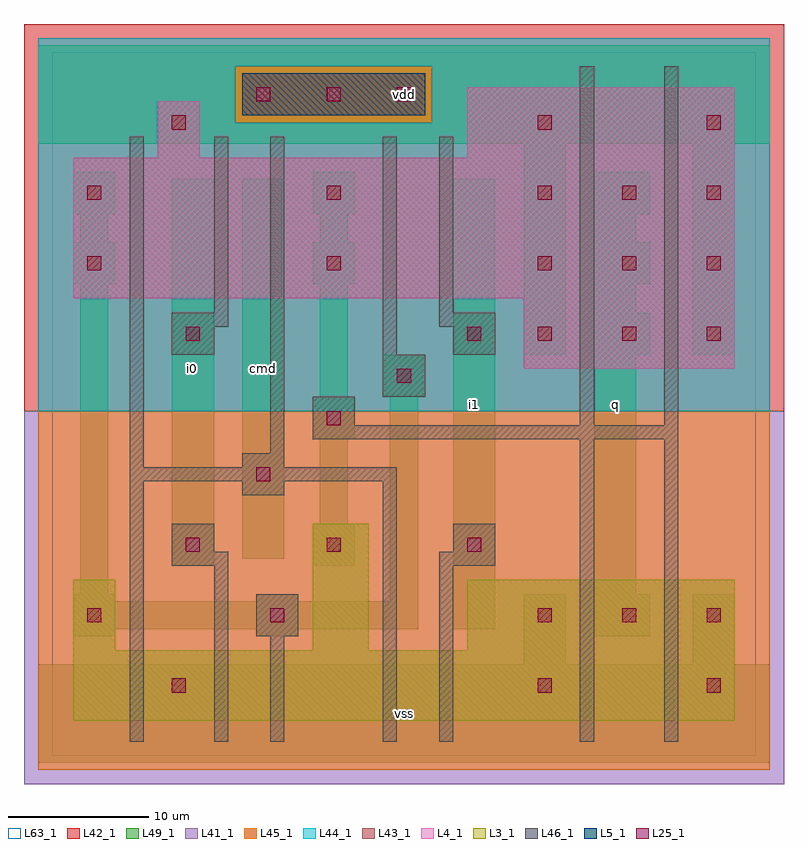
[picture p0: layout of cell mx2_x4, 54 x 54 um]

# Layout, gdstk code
import gdstk
lib = gdstk.Library(unit=1e-6, precision=1e-09)
def R(c, l, rs):  # rectangles x0, y0, x1, y1
    for r in rs: c.add(gdstk.rectangle(r[:2], r[2:], *l))
def A(c, l, x, y, w, h, nx, ny, dx, dy):  # array of equal rectangles
    R(c, l, [(x+i*dx, y+j*dy, x+i*dx+w, y+j*dy+h) for i in range(nx) for j in range(ny)])
L3_1 = (3, 1)
L4_1 = (4, 1)
L5_1 = (5, 1)
L25_1 = (25, 1)
L41_1 = (41, 1)
L42_1 = (42, 1)
L43_1 = (43, 1)
L44_1 = (44, 1)
L45_1 = (45, 1)
L46_1 = (46, 1)
L49_1 = (49, 1)
L63_1 = (63, 1)

mx2_x4 = lib.new_cell('mx2_x4')
R(mx2_x4, L3_1, [(1.5,2.5,48.5,7.5), (1.5,7.5,4.5,12.5), (18.5,7.5,22.5,16.5), (29.5,7.5,48.5,12.5)])
R(mx2_x4, L4_1, [(33.5,27.5,48.5,32.5), (1.5,32.5,48.5,42.5), (7.5,42.5,10.5,46.5), (29.5,42.5,48.5,47.5)])
R(mx2_x4, L5_1, [(13.5,45.5,26.5,48.5)])
A(mx2_x4, L25_1, 34.5, 9.5, 1, 1, 3, 2, 6, 20)
A(mx2_x4, L25_1, 9.5, 14.5, 1, 1, 3, 1, 10, 0)
A(mx2_x4, L25_1, 34.5, 34.5, 1, 1, 3, 2, 6, 5)
A(mx2_x4, L25_1, 14.5, 46.5, 1, 1, 3, 1, 5, 0)
R(mx2_x4, L25_1, [(8.5,4.5,9.5,5.5), (34.5,4.5,35.5,5.5), (46.5,4.5,47.5,5.5), (2.5,9.5,3.5,10.5), (15.5,9.5,16.5,10.5), (14.5,19.5,15.5,20.5), (19.5,23.5,20.5,24.5), (24.5,26.5,25.5,27.5), (9.5,29.5,10.5,30.5), (29.5,29.5,30.5,30.5), (2.5,34.5,3.5,35.5), (19.5,34.5,20.5,35.5), (2.5,39.5,3.5,40.5), (19.5,39.5,20.5,40.5), (8.5,44.5,9.5,45.5), (34.5,44.5,35.5,45.5), (46.5,44.5,47.5,45.5)])
R(mx2_x4, L41_1, [(-2,-2,52,24.5)])
R(mx2_x4, L42_1, [(-2,24.5,52,52)])
R(mx2_x4, L43_1, [(1.5,2.5,48.5,7.5), (1.5,7.5,4.5,12.5), (18.5,7.5,22.5,16.5), (29.5,7.5,48.5,12.5), (33.5,27.5,48.5,32.5), (1.5,32.5,48.5,42.5), (7.5,42.5,10.5,46.5), (29.5,42.5,48.5,47.5), (13.5,45.5,26.5,48.5)])
R(mx2_x4, L44_1, [(-1,24.5,51,45), (-1,45,13,49), (27,45,51,49), (-1,49,51,51)])
R(mx2_x4, L45_1, [(-1,-1,51,24.5), (13,45,27,49)])
R(mx2_x4, L46_1, [(5.5,1,6.5,19.5), (11.5,1,12.5,13.5), (15.5,1,16.5,8.5), (23.5,1,24.5,19.5), (27.5,1,28.5,13.5), (37.5,1,38.5,22.5), (43.5,1,44.5,22.5), (14.5,8.5,17.5,11.5), (8.5,13.5,12.5,14.5), (27.5,13.5,31.5,14.5), (8.5,14.5,11.5,16.5), (28.5,14.5,31.5,16.5), (13.5,18.5,16.5,19.5), (5.5,19.5,24.5,20.5), (5.5,20.5,6.5,44), (13.5,20.5,16.5,21.5), (15.5,21.5,16.5,44), (18.5,22.5,44.5,23.5), (18.5,23.5,21.5,25.5), (37.5,23.5,38.5,49), (43.5,23.5,44.5,49), (23.5,25.5,26.5,28.5), (8.5,28.5,11.5,30.5), (23.5,28.5,24.5,44), (28.5,28.5,31.5,30.5), (8.5,30.5,12.5,31.5), (27.5,30.5,31.5,31.5), (11.5,31.5,12.5,44), (27.5,31.5,28.5,44)])
A(mx2_x4, L49_1, 38.5, 28.5, 4, 3, 1, 3, 0, 5)
R(mx2_x4, L49_1, [(-1,-0.5,51,6.5), (33.5,6.5,36.5,11.5), (45.5,6.5,48.5,11.5), (1.5,8.5,4.5,9), (14.5,8.5,17.5,9), (38.5,8.5,42.5,11.5), (1.5,9,26,11), (28.5,9,31.5,41), (1.5,11,4.5,11.5), (14.5,11,17.5,11.5), (24,11,26,25.5), (2,11.5,4,33.5), (38.5,11.5,41.5,28.5), (8.5,13.5,11.5,41), (18.5,13.5,21.5,16.5), (13.5,14,16.5,41), (19,16.5,21,22.5), (18.5,22.5,21.5,25.5), (19,25.5,21,33.5), (23.5,25.5,26.5,28.5), (33.5,28.5,36.5,43.5), (45.5,28.5,48.5,43.5), (38.5,31.5,41.5,33.5), (1.5,33.5,4.5,36.5), (18.5,33.5,21.5,36.5), (2,36.5,4,38.5), (19,36.5,21,38.5), (38.5,36.5,41.5,38.5), (1.5,38.5,4.5,41.5), (18.5,38.5,21.5,41.5), (-1,43.5,51,50.5)])
R(mx2_x4, L63_1, [(0,0,50,50)])
mx2_x4.add(gdstk.Label('i0', (10,27.5), layer=49, texttype=1))
mx2_x4.add(gdstk.Label('i0', (10,27.5), layer=49, texttype=1))
mx2_x4.add(gdstk.Label('cmd', (15,27.5), layer=49, texttype=1))
mx2_x4.add(gdstk.Label('cmd', (15,27.5), layer=49, texttype=1))
mx2_x4.add(gdstk.Label('vss', (25,3), layer=49, texttype=1))
mx2_x4.add(gdstk.Label('vss', (25,3), layer=49, texttype=1))
mx2_x4.add(gdstk.Label('i1', (30,25), layer=49, texttype=1))
mx2_x4.add(gdstk.Label('i1', (30,25), layer=49, texttype=1))
mx2_x4.add(gdstk.Label('vdd', (25,47), layer=49, texttype=1))
mx2_x4.add(gdstk.Label('vdd', (25,47), layer=49, texttype=1))
mx2_x4.add(gdstk.Label('q', (40,25), layer=49, texttype=1))
mx2_x4.add(gdstk.Label('q', (40,25), layer=49, texttype=1))

lib.write_gds('mx2_x4.gds')
